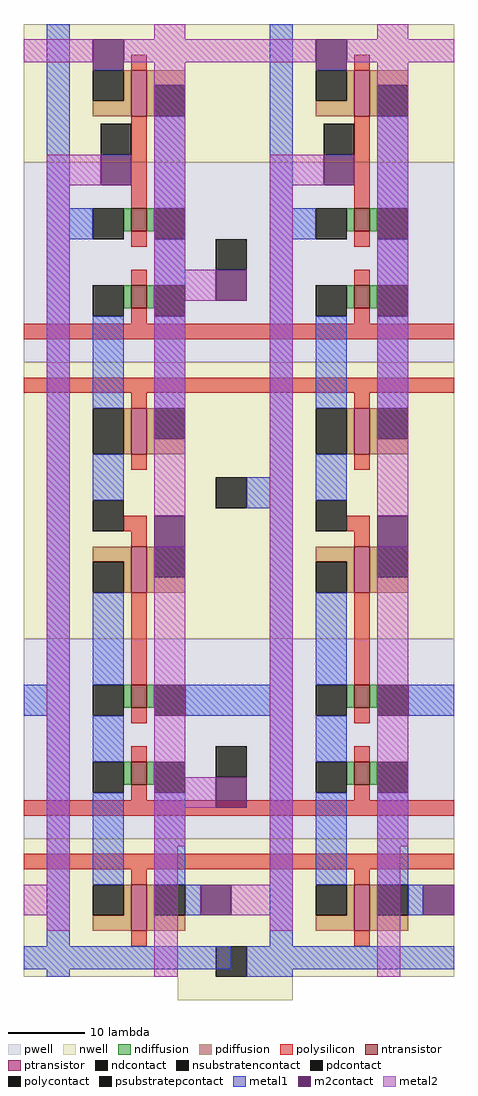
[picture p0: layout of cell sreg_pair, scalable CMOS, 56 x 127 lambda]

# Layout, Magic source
magic
tech scmos
<< nwell >>
rect 24 106 26 124
rect 24 44 26 80
rect 24 4 26 18
rect 22 0 29 4
rect 17 -3 32 0
<< pwell >>
rect 24 80 26 106
rect 24 18 26 44
<< psubstratepcontact >>
rect 22 92 26 96
rect 22 26 26 30
<< nsubstratencontact >>
rect 22 61 26 65
rect 22 0 26 4
<< polysilicon >>
rect 24 83 26 85
rect 24 76 26 78
rect 24 21 26 23
rect 24 14 26 16
<< metal1 >>
rect 26 61 30 65
rect 24 34 26 38
rect 26 0 29 4
<< m2contact >>
rect 22 88 26 92
rect 22 22 26 26
<< metal2 >>
rect 24 119 26 122
rect 18 88 22 92
rect 18 22 22 26
rect 24 8 26 12
use sreg  sreg_0
transform 1 0 6 0 1 97
box -9 -97 18 27
use sreg  sreg_1
transform 1 0 35 0 1 97
box -9 -97 18 27
<< end >>

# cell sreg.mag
magic
tech scmos
<< nwell >>
rect -9 9 18 27
rect -9 -53 18 -17
rect -9 -97 18 -79
<< pwell >>
rect -9 -17 18 9
rect -9 -79 18 -53
<< ntransistor >>
rect 5 0 7 3
rect 5 -10 7 -7
rect 5 -62 7 -59
rect 5 -72 7 -69
<< ptransistor >>
rect 5 15 7 21
rect 5 -29 7 -23
rect 5 -47 7 -41
rect 5 -91 7 -85
<< ndiffusion >>
rect 4 0 5 3
rect 7 0 8 3
rect 4 -10 5 -7
rect 7 -10 8 -7
rect 4 -62 5 -59
rect 7 -62 8 -59
rect 4 -72 5 -69
rect 7 -72 8 -69
<< pdiffusion >>
rect 4 17 5 21
rect 0 15 5 17
rect 7 19 12 21
rect 7 15 8 19
rect 4 -29 5 -23
rect 7 -27 8 -23
rect 7 -29 12 -27
rect 0 -43 5 -41
rect 4 -47 5 -43
rect 7 -45 8 -41
rect 7 -47 12 -45
rect 4 -89 5 -85
rect 0 -91 5 -89
rect 7 -89 8 -85
rect 7 -91 12 -89
<< ndcontact >>
rect 0 -1 4 3
rect 8 -1 12 3
rect 0 -11 4 -7
rect 8 -11 12 -7
rect 0 -63 4 -59
rect 8 -63 12 -59
rect 0 -73 4 -69
rect 8 -73 12 -69
<< pdcontact >>
rect 0 17 4 21
rect 8 15 12 19
rect 0 -29 4 -23
rect 8 -27 12 -23
rect 0 -47 4 -43
rect 8 -45 12 -41
rect 0 -89 4 -85
rect 8 -89 12 -85
<< polysilicon >>
rect 5 21 7 23
rect 5 3 7 15
rect 5 -2 7 0
rect 5 -7 7 -5
rect 5 -12 7 -10
rect -9 -14 18 -12
rect -9 -21 18 -19
rect 5 -23 7 -21
rect 5 -31 7 -29
rect 4 -39 7 -37
rect 5 -41 7 -39
rect 5 -59 7 -47
rect 5 -64 7 -62
rect 5 -69 7 -67
rect 5 -74 7 -72
rect -9 -76 18 -74
rect -9 -83 18 -81
rect 5 -85 7 -83
rect 5 -93 7 -91
<< polycontact >>
rect 1 10 5 14
rect 0 -39 4 -35
<< metal1 >>
rect -6 3 -3 27
rect 8 3 12 15
rect -6 -1 0 3
rect -6 -59 -3 -1
rect 8 -7 12 -1
rect 0 -23 4 -11
rect 8 -23 12 -11
rect 0 -35 4 -29
rect -9 -63 -3 -59
rect -6 -93 -3 -63
rect 0 -59 4 -47
rect 12 -63 18 -59
rect 0 -69 4 -63
rect 0 -85 4 -73
rect 8 -85 12 -73
rect 12 -89 14 -85
rect -9 -96 18 -93
rect -6 -97 -3 -96
<< m2contact >>
rect 0 21 4 25
rect 1 6 5 10
rect 8 -41 12 -37
rect 14 -89 18 -85
<< metal2 >>
rect 8 25 12 27
rect -9 22 0 25
rect 4 22 18 25
rect -6 6 1 10
rect -6 -85 -3 6
rect -9 -89 -3 -85
rect -6 -91 -3 -89
rect 8 -37 12 22
rect 8 -80 12 -41
rect 8 -97 11 -80
<< labels >>
rlabel metal2 -9 -87 -9 -87 3 i0
rlabel metal1 -8 -95 -8 -95 2 GND!
rlabel metal2 -8 23 -8 23 4 Vdd!
rlabel polysilicon -9 -14 -9 -12 3 c0
rlabel polysilicon -9 -21 -9 -19 3 _c0
rlabel polysilicon -9 -76 -9 -74 3 c1
rlabel polysilicon -9 -83 -9 -81 3 _c1
<< end >>
